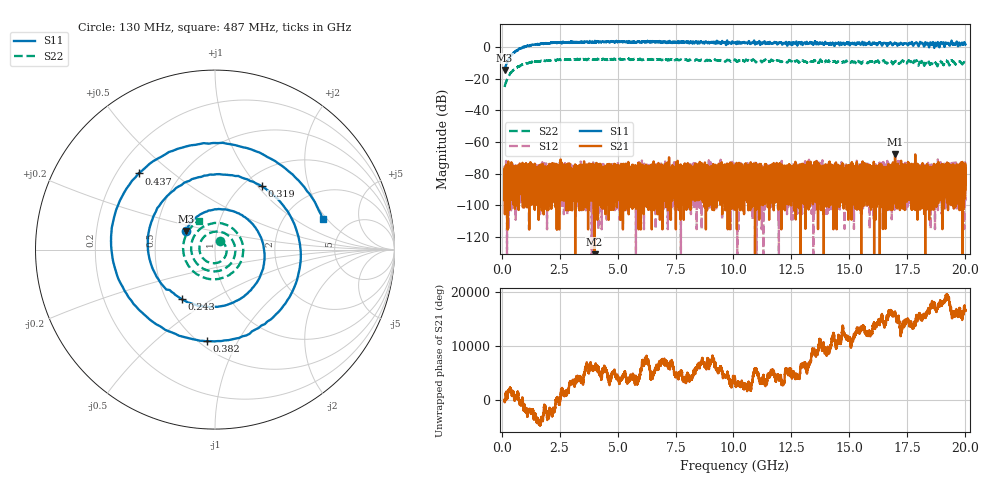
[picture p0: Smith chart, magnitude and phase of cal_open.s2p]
!Created with skrf (http://scikit-rf.org).
# GHz S RI R 50.0
!freq ReS11 ImS11 ReS21 ImS21 ReS12 ImS12 ReS22 ImS22
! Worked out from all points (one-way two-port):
!   20013 points, 130 MHz to 20 GHz, reference 50 ohm
!   highest |S21| = -67.57 dB at 16.97 GHz (marker M1); lowest = -178.5 dB at 4.011 GHz (marker M2)
!   lowest |S11| = -14.3 dB at 130 MHz (marker M3), VSWR 1.48, Z = 35.4 + j7.67 ohm
!   |S11| at or under -10 dB: start of sweep to 224.6 MHz
!   |S22| runs from -25.2 to -7.1 dB; largest |S21 - S12| = 0.00054
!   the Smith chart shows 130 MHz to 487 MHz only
!   S11 on the Smith chart (normalised r, x): 130 MHz: 0.71, +0.15; 243 MHz: 0.60, -0.37; 319 MHz: 1.20, +1.05; 382 MHz: 0.54, -0.75; 437 MHz: 0.29, +0.38; 487 MHz: 3.22, +1.80
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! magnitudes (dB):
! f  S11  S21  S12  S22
! 130 MHz  -14.3  -80.2  -85.6  -25.2
! 243 MHz  -9.6  -88.2  -85.6  -20.1
! 319 MHz  -7.2  -79.4  -76.4  -18.1
! 382 MHz  -5.8  -87.1  -80.6  -16.3
! 437 MHz  -4.4  -81.9  -83.9  -15.6
! 487 MHz  -4.1  -86.2  -78.4  -14.7
! 862 MHz  -0.3  -82.8  -88.3  -11.2
! 1.318 GHz  1.7  -79.7  -89.8  -9.3
! 3.442 GHz  3.4  -87.4  -79.8  -8.2
! 4.011 GHz  3.8  -178.5  -77.7  -7.6
! 6.754 GHz  3.1  -80.9  -81.8  -7.9
! 10.06 GHz  3.0  -80.2  -83.7  -7.8
! 13.38 GHz  3.0  -83.3  -81.3  -8.9
! 16.69 GHz  2.3  -75.2  -89.7  -9.0
! 16.97 GHz  2.7  -67.6  -78.1  -9.0
! 18.1 GHz  2.5  -77.9  -82.4  -9.3
! 18.76 GHz  0.9  -74.2  -86.1  -10.8
! 18.93 GHz  2.8  -85.7  -85.3  -8.9
! 19.29 GHz  2.0  -84.9  -84.9  -10.8
! 19.44 GHz  2.4  -77.4  -85.9  -8.7
! 19.87 GHz  2.6  -72.5  -80.2  -10.8
! 20 GHz  1.7  -82.9  -89.9  -9.1
